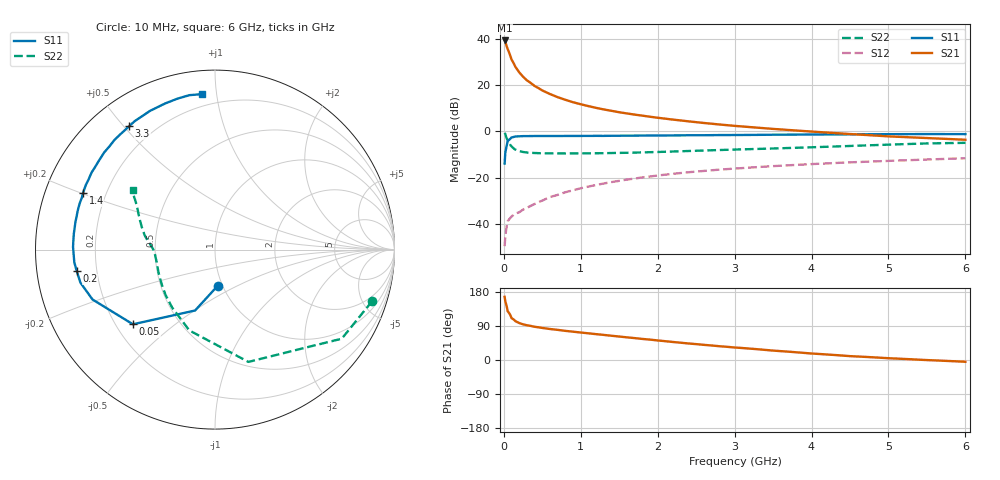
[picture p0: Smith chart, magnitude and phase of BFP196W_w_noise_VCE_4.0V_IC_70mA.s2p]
! Infineon Technologies  Discrete & RF Semiconductors
! BFP196W
! VCE =  4.0 V,  IC =  70 mA
! Common Emitter S-Parameters:  Jan 2017
# GHz  S  MA  R  50
!  f  S11  S21  S12  S22
! GHz  MAG  ANG  MAG  ANG  MAG  ANG  MAG  ANG
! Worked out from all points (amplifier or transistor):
!   77 points, 10 MHz to 6 GHz, reference 50 ohm
!   highest |S21| = 39.2 dB at 10 MHz (marker M1)
!   |S21| within 3 dB of that: start of sweep to 42.05 MHz
!   unconditionally stable (mu >= 1): 605 MHz to 3.32 GHz
!   at 130 MHz: K = 0.52, MSG = 32.6 dB, |S12| = -36.0 dB
!   at 2.2 GHz: K = 1.03, MAG = 10.6 dB, |S12| = -18.4 dB
!   at 6 GHz: K = 0.95, MSG = 4.0 dB, |S12| = -11.6 dB
!   lowest NFmin = 1.58 dB at 450 MHz
!   S11 on the Smith chart (normalised r, x): 10 MHz: 0.95, -0.40; 50 MHz: 0.27, -0.36; 200 MHz: 0.12, -0.08; 1.4 GHz: 0.12, +0.20; 3.3 GHz: 0.11, +0.52; 6 GHz: 0.13, +0.91
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0.01  0.2011 -85.4  91.69 166.8  0.0033 78.2  0.9213 -18.2
0.02  0.3569 -108.1  84.73 153.8  0.0055 69.2  0.8633 -35.1
0.05  0.6183 -137.7  59.58 128.5  0.0114 50.3  0.6529 -73.4
0.1  0.7367 -157.8  35.53 110.4  0.0144 44.7  0.4722 -107.7
0.15  0.7721 -166.2  24.69 102.5  0.0167 44.8  0.4017 -126.4
0.2  0.7795 -171.1  18.76 97.5  0.0178 49.5  0.3739 -137.4
0.25  0.7869 -174.7  15.09 94.1  0.0204 52.0  0.3573 -145.3
0.3  0.7875 -177.0  12.61 91.7  0.0222 53.8  0.3479 -150.7
0.4  0.7911 178.9  9.526 87.6  0.0269 58.5  0.3398 -157.8
0.5  0.7908 176.0  7.627 84.6  0.0319 61.1  0.335 -162.5
0.6  0.7915 173.4  6.378 81.8  0.038 62.4  0.3349 -165.7
0.7  0.7913 171.1  5.461 79.5  0.0423 65.3  0.3324 -168.2
0.9  0.7927 166.7  4.246 74.7  0.0531 65.3  0.3337 -171.7
1.1  0.7958 162.7  3.496 70.4  0.064 65.2  0.335 -174.4
1.4  0.8001 156.8  2.768 64.0  0.08 64.3  0.3393 -177.9
1.7  0.805 151.2  2.294 57.8  0.0953 62.0  0.3465 179.2
2.1  0.8125 144.1  1.874 49.6  0.1158 58.4  0.3616 175.4
3.1  0.8326 127.9  1.271 31.6  0.1605 49.0  0.4073 166.8
3.3  0.8372 124.9  1.197 28.4  0.1686 47.2  0.416 165.0
4.1  0.854 113.8  0.963 15.9  0.1991 40.1  0.4574 157.1
5.1  0.8674 103.0  0.764 3.8  0.2326 31.9  0.5212 148.4
6  0.8691 94.7  0.657 -4.7  0.2618 24.8  0.5634 144.0
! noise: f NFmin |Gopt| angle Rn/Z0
0.45  1.58  0.55  -175  0.06
0.9  1.7  0.58  -169  0.07
1.9  2.54  0.7  -148  0.18
2.4  2.95  0.74  -143  0.3
